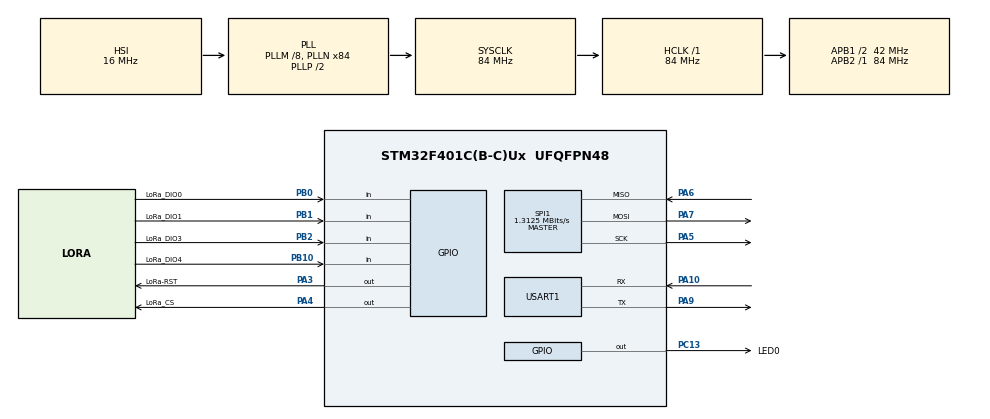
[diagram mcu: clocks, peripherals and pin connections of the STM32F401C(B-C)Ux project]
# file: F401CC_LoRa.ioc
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Mcu.Family=STM32F4
Mcu.Name=STM32F401C(B-C)Ux
Mcu.Package=UFQFPN48
NVIC.PriorityGroup=NVIC_PRIORITYGROUP_4
PA10.Mode=Asynchronous
PA10.Signal=USART1_RX
PA13.Mode=Serial_Wire
PA13.Signal=SYS_JTMS-SWDIO
PA14.Mode=Serial_Wire
PA14.Signal=SYS_JTCK-SWCLK
PA3.GPIO_Label=LoRa-RST
PA3.Signal=GPIO_Output
PA4.GPIO_Label=LoRa_CS
PA4.Signal=GPIO_Output
PA5.Mode=Full_Duplex_Master
PA5.Signal=SPI1_SCK
PA6.Mode=Full_Duplex_Master
PA6.Signal=SPI1_MISO
PA7.Mode=Full_Duplex_Master
PA7.Signal=SPI1_MOSI
PA9.Mode=Asynchronous
PA9.Signal=USART1_TX
PB0.GPIO_Label=LoRa_DIO0
PB0.Signal=GPIO_Input
PB1.GPIO_Label=LoRa_DIO1
PB1.Signal=GPIO_Input
PB10.GPIO_Label=LoRa_DIO4
PB10.Signal=GPIO_Input
PB2.GPIO_Label=LoRa_DIO3
PB2.Signal=GPIO_Input
PC13-ANTI_TAMP.GPIO_Label=LED0
PC13-ANTI_TAMP.PinState=GPIO_PIN_SET
PC13-ANTI_TAMP.Signal=GPIO_Output
ProjectManager.HeapSize=0x200
ProjectManager.StackSize=0x400
ProjectManager.TargetToolchain=MDK-ARM V5.27
RCC.48MHZClocksFreq_Value=42000000
RCC.AHBFreq_Value=84000000
RCC.APB1CLKDivider=RCC_HCLK_DIV2
RCC.APB1Freq_Value=42000000
RCC.APB1TimFreq_Value=84000000
RCC.APB2Freq_Value=84000000
RCC.APB2TimFreq_Value=84000000
RCC.CortexFreq_Value=84000000
RCC.HCLKFreq_Value=84000000
RCC.HSE_VALUE=25000000
RCC.HSI_VALUE=16000000
RCC.LSE_VALUE=32768
RCC.PLLM=8
RCC.PLLN=84
RCC.SYSCLKFreq_VALUE=84000000
RCC.SYSCLKSource=RCC_SYSCLKSOURCE_PLLCLK
RCC.VCOOutputFreq_Value=168000000
SPI1.BaudRatePrescaler=SPI_BAUDRATEPRESCALER_64
SPI1.CalculateBaudRate=1.3125 MBits/s
SPI1.Direction=SPI_DIRECTION_2LINES
SPI1.Mode=SPI_MODE_MASTER
SPI1.VirtualType=VM_MASTER
USART1.VirtualMode=VM_ASYNC
board=custom

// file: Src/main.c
/* USER CODE BEGIN Header */
/**
  ******************************************************************************
  * @file           : main.c
  * @brief          : Main program body
  ******************************************************************************
  * @attention
  *
  * <h2><center>&copy; Copyright (c) 2020 STMicroelectronics.
  * All rights reserved.</center></h2>
  *
  * This software component is licensed by ST under BSD 3-Clause license,
  * the "License"; You may not use this file except in compliance with the
  * License. You may obtain a copy of the License at:
  *                        opensource.org/licenses/BSD-3-Clause
  *
  ******************************************************************************
  */
/* USER CODE END Header */

#include "main.h"
#include "spi.h"
#include "usart.h"
#include "gpio.h"

/* USER CODE BEGIN Includes */

#include "stdio.h"
#include "radio/sx127x_driver.h"
#include "string.h"
/* USER CODE END Includes */

void SystemClock_Config(void);
/* USER CODE BEGIN PFP */
#pragma import(__use_no_semihosting)
//标准库需要支持的函数
struct __FILE
{
	int handle;
};

FILE __stdout;
//定义_sys_exit()以避免工作在半主机状态
void _sys_exit(int x)
{
	x = x;
}
//重定义fputc函数
//这个需要根据MCU和我们希望printf从哪个串口输出来确认 __WAIT_TODO__
int fputc(int ch, FILE *f)
{
	uint8_t data = (uint8_t) ch;
	//注意：USART_FLAG_TXE是检查发送缓冲区是否为空，这个要在发送前检查，检查这个提议提高发送效率，但是在休眠的时候可能导致最后一个字符丢失
	//USART_FLAG_TC是检查发送完成标志，这个在发送后检查，这个不会出现睡眠丢失字符问题，但是效率低（发送过程中发送缓冲区已经为空了，可以接收下一个数据了，但是因为要等待发送完成，所以效率低）
	//不要两个一起用，一起用效率最低

	//循环等待直到发送缓冲区为空(TX Empty)此时可以发送数据到缓冲区
  while (__HAL_UART_GET_FLAG(&huart1, UART_FLAG_TXE) == RESET);
	HAL_UART_Transmit(&huart1, &data, 1, 0xff);

  /* 循环等待直到发送结束*/
  //while (USART_GetFlagStatus(USART2, USART_FLAG_TC) == RESET)
  //{}

	return ch;
}
/* USER CODE END PFP */

int main(void)
{
  /* USER CODE BEGIN 1 */
	uint32_t lastTime, useTime;
  /* USER CODE END 1 */

  /* MCU Configuration--------------------------------------------------------*/

  /* Reset of all peripherals, Initializes the Flash interface and the Systick. */
  HAL_Init();

  /* Configure the system clock */
  SystemClock_Config();

  /* Initialize all configured peripherals */
  MX_GPIO_Init();
  MX_SPI1_Init();
  MX_USART1_UART_Init();
  /* USER CODE BEGIN 2 */
	tLoRaSettings stting={435000000,18,7,12,1,0x0005};	//频率435M，功率10dbm，带宽125kHz，SF=12，误码编码率4/5,前导码长度0x0005
	g_Radio.Init(&stting);

  /* USER CODE END 2 */

  /* Infinite loop */
  /* USER CODE BEGIN WHILE */
  while (1)
  {
		lastTime = HAL_GetTick();
		if(0 == sx127xSend((uint8_t*)"Hello World!!aaaaaaaaaaaaaaaaaaaaaaaaaaaaaaaaaaaaaaaaaaaa", strlen("Hello World!!aaaaaaaaaaaaaaaaaaaaaaaaaaaaaaaaaaaaaaaaaaaa"), 10000))
		{
			useTime = HAL_GetTick() - lastTime;
			printf("Send success! use %d ms\r\n", useTime);
			HAL_GPIO_WritePin(LED0_GPIO_Port, LED0_Pin, GPIO_PIN_RESET);
			HAL_Delay(500);
			HAL_GPIO_WritePin(LED0_GPIO_Port, LED0_Pin, GPIO_PIN_SET);
		}
		else
		{
			printf("Send time out!");
		}
    /* USER CODE END WHILE */

  }
}

void SystemClock_Config(void)
{
  RCC_OscInitTypeDef RCC_OscInitStruct = {0};
  RCC_ClkInitTypeDef RCC_ClkInitStruct = {0};

  /** Configure the main internal regulator output voltage
  */
  __HAL_RCC_PWR_CLK_ENABLE();
  __HAL_PWR_VOLTAGESCALING_CONFIG(PWR_REGULATOR_VOLTAGE_SCALE2);
  /** Initializes the CPU, AHB and APB busses clocks
  */
  RCC_OscInitStruct.OscillatorType = RCC_OSCILLATORTYPE_HSI;
  RCC_OscInitStruct.HSIState = RCC_HSI_ON;
  RCC_OscInitStruct.HSICalibrationValue = RCC_HSICALIBRATION_DEFAULT;
  RCC_OscInitStruct.PLL.PLLState = RCC_PLL_ON;
  RCC_OscInitStruct.PLL.PLLSource = RCC_PLLSOURCE_HSI;
  RCC_OscInitStruct.PLL.PLLM = 8;
  RCC_OscInitStruct.PLL.PLLN = 84;
  RCC_OscInitStruct.PLL.PLLP = RCC_PLLP_DIV2;
  RCC_OscInitStruct.PLL.PLLQ = 4;
  if (HAL_RCC_OscConfig(&RCC_OscInitStruct) != HAL_OK)
  {
    Error_Handler();
  }
  /** Initializes the CPU, AHB and APB busses clocks
  */
  RCC_ClkInitStruct.ClockType = RCC_CLOCKTYPE_HCLK|RCC_CLOCKTYPE_SYSCLK
                              |RCC_CLOCKTYPE_PCLK1|RCC_CLOCKTYPE_PCLK2;
  RCC_ClkInitStruct.SYSCLKSource = RCC_SYSCLKSOURCE_PLLCLK;
  RCC_ClkInitStruct.AHBCLKDivider = RCC_SYSCLK_DIV1;
  RCC_ClkInitStruct.APB1CLKDivider = RCC_HCLK_DIV2;
  RCC_ClkInitStruct.APB2CLKDivider = RCC_HCLK_DIV1;

  if (HAL_RCC_ClockConfig(&RCC_ClkInitStruct, FLASH_LATENCY_2) != HAL_OK)
  {
    Error_Handler();
  }
}

void Error_Handler(void)
{
}

/************************ (C) COPYRIGHT STMicroelectronics *****END OF FILE****/
